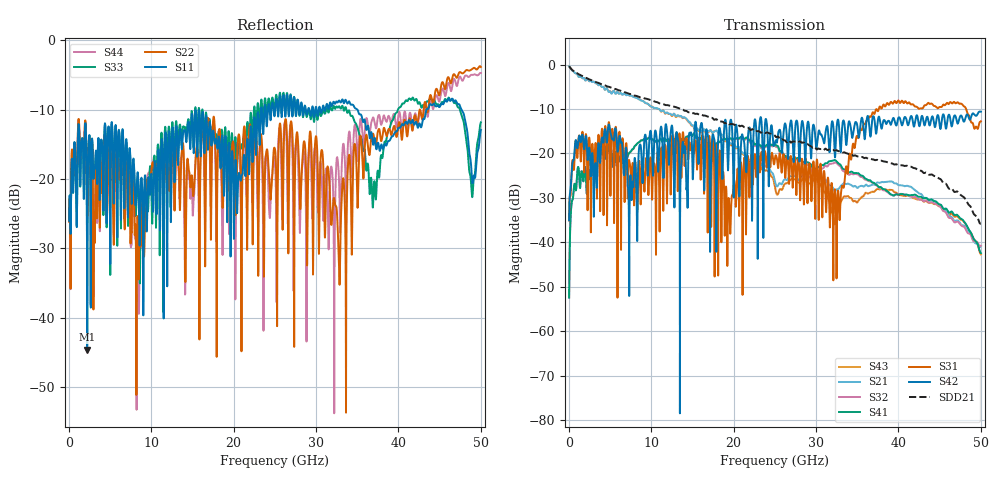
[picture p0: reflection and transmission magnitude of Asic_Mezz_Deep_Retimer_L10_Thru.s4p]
! Created Wed Jul  3 15:41:09 2019
# hz S ma R 50
! 4 Port Network Data from SP1.SP block
! freq  magS11  angS11  magS12  angS12  magS13  angS13  magS14  angS14
!  magS21  angS21  magS22  angS22  magS23  angS23  magS24  angS24
!  magS31  angS31  magS32  angS32  magS33  angS33  magS34  angS34
!  magS41  angS41  magS42  angS42  magS43  angS43  magS44  angS44
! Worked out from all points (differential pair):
!   4996 points, 50 MHz to 50 GHz, reference 50 ohm
!   strongest paths, dB at 50 MHz, 12.54 GHz, 25.03 GHz, 37.52 GHz, 50 GHz:
!     S42: -35.0, -13.8, -17.5, -12.4, -10.6
!     S31: -35.1, -16.3, -21.0, -10.5, -12.8
!     S41: -52.4, -17.0, -17.9, -27.4, -42.4
!     S32: -52.4, -17.1, -18.3, -27.5, -40.8
!     S21: -0.3, -11.4, -26.3, -26.5, -40.9
!     S43: -0.3, -11.6, -27.7, -28.0, -42.7
!   taken as a pair (ports 1,3 in; 2,4 out), SDD21 dB: -0.3, -9.4, -16.0, -21.5, -35.8
!   lowest |S11| = -44.7 dB at 2.24 GHz (marker M1), VSWR 1.01, Z = 50.3 + j0.479 ohm
!   |S11| at or under -10 dB: start of sweep to 23.33 GHz; 35.03 GHz to 43.39 GHz (8.363 GHz wide, 21.3 % of centre); 47.66 GHz to end of sweep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
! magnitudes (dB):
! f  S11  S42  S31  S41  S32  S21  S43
! 50 MHz  -26.0  -35.0  -35.1  -52.4  -52.4  -0.3  -0.3
! 2.24 GHz  -44.7  -20.1  -23.5  -27.7  -27.7  -3.2  -3.2
! 8.41 GHz  -19.4  -24.3  -27.5  -17.6  -17.6  -7.7  -7.7
! 16.91 GHz  -15.6  -16.2  -22.9  -17.8  -17.9  -15.0  -15.1
! 32.8 GHz  -8.7  -14.2  -32.5  -22.3  -22.7  -27.8  -32.0
! 37.95 GHz  -15.0  -14.4  -9.9  -27.7  -28.0  -26.4  -27.9
! 50 GHz  -12.9  -10.6  -12.8  -42.4  -40.8  -40.9  -42.7
